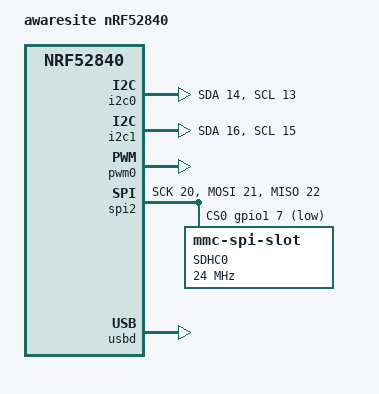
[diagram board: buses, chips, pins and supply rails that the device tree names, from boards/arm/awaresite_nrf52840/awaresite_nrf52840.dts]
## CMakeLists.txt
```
# SPDX-License-Identifier: Apache-2.0

cmake_minimum_required(VERSION 3.20.0)

list(APPEND BOARD_ROOT ${CMAKE_CURRENT_SOURCE_DIR})

# sets the board name to our custom board
set(BOARD awaresite_nrf52840)

find_package(Zephyr REQUIRED HINTS $ENV{ZEPHYR_BASE})
project(awaresite)

# adds our include directory to the app so that it can find the header files
target_include_directories(app PRIVATE include)

# adds the source files to our app
target_sources(app PRIVATE src/main.c)
```

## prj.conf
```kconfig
CONFIG_SERIAL=y

CONFIG_USE_SEGGER_RTT=y

CONFIG_LOG=y
CONFIG_LOG_BACKEND_SWO=y

CONFIG_SHELL=y
CONFIG_SHELL_BACKEND_RTT=y

CONFIG_FILE_SYSTEM=y
CONFIG_FAT_FILESYSTEM_ELM=y

CONFIG_SENSOR=y
CONFIG_TEMP_NRF5=y

CONFIG_CBPRINTF_LIBC_SUBSTS=y

CONFIG_BT=y
CONFIG_BT_OBSERVER=y
CONFIG_BT_SHELL=y
```

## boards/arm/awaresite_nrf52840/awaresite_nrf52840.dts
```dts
/*
 * awaresite board configuration
 */

/dts-v1/;
#include <nordic/nrf52840_qiaa.dtsi>

/ {
	model = "awaresite nRF52840";
	compatible = "rical,awaresite-nrf52840";

	chosen {
		zephyr,sram = &sram0;
		zephyr,flash = &flash0;
		zephyr,code-partition = &slot0_partition;
	};
};

&gpio0 {
	status = "okay";
};

&gpio1 {
	status = "okay";
};

&i2c0 {
	compatible = "nordic,nrf-twi";
	status = "okay";
	sda-pin = <14>;
	scl-pin = <13>;
};

&i2c1 {
	compatible = "nordic,nrf-twi";
	/* Cannot be used together with spi1. */
	/* status = "okay"; */
	sda-pin = <16>;
	scl-pin = <15>;
};

&pwm0 {
	status = "okay";
	ch0-pin = <6>;
	ch0-inverted;
	ch1-pin = <8>;
	ch1-inverted;
};

&spi0 {
	status = "disabled";
};

&spi1 {
	status = "disabled";
};

&spi2 {
	compatible = "nordic,nrf-spi";
	status = "okay";
	sck-pin = <20>;
	mosi-pin = <21>;
	miso-pin = <22>;
	cs-gpios = <&gpio1 7 GPIO_ACTIVE_LOW>;

	sdhc0: sdhc@0 {
		compatible = "zephyr,mmc-spi-slot";
                reg = <0>;
                status = "okay";
                label = "SDHC0";
                spi-max-frequency = <24000000>;
	};
};

&flash0 {

	partitions {
		compatible = "fixed-partitions";
		#address-cells = <1>;
		#size-cells = <1>;

		boot_partition: partition@0 {
			label = "mcuboot";
			reg = <0x000000000 0x0000C000>;
		};
		slot0_partition: partition@c000 {
			label = "image-0";
			reg = <0x0000C000 0x00067000>;
		};
		slot1_partition: partition@73000 {
			label = "image-1";
			reg = <0x00073000 0x00067000>;
		};
		scratch_partition: partition@da000 {
			label = "image-scratch";
			reg = <0x000da000 0x0001e000>;
		};

		/*
		 * The flash starting at 0x000f8000 and ending at
		 * 0x000fffff is reserved for use by the application.
		 */

		/*
		 * Storage partition will be used by FCB/LittleFS/NVS
		 * if enabled.
		 */
		storage_partition: partition@f8000 {
			label = "storage";
			reg = <0x000f8000 0x00008000>;
		};
	};
};

zephyr_udc0: &usbd {
	compatible = "nordic,nrf-usbd";
	status = "okay";
};
```

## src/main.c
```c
/*
 * Copyright (c) 2012-2014 Wind River Systems, Inc.
 *
 * SPDX-License-Identifier: Apache-2.0
 */

#include <zephyr/kernel.h>
#include <zephyr/device.h>
#include <ff.h>

#include <zephyr/bluetooth/bluetooth.h>
#include <zephyr/bluetooth/hci.h>
#include <zephyr/drivers/sensor.h>
#include <zephyr/fs/fs.h>
#include <zephyr/logging/log.h>
#include <zephyr/storage/disk_access.h>

#include <zephyr/sys/cbprintf.h>
#include <zephyr/sys/printk.h>
#include <zephyr/sys/ring_buffer.h>

LOG_MODULE_REGISTER(main);

static void bt_device_found(const bt_addr_le_t *addr, int8_t rssi, uint8_t type, struct net_buf_simple *ad);

// main uses this to buffer items
#define WRITE_BUFFER_SIZE (512 * 10) // write at once up to 10 sectors
static uint8_t write_buffer[WRITE_BUFFER_SIZE + 1]; // +1 for EOL

K_MUTEX_DEFINE(rbuf_mutex);
K_CONDVAR_DEFINE(rbuf_cv);
RING_BUF_ITEM_DECLARE_POW2(rbuf, (9 + 5)); // 512 = 2^9, 2^5=32 sectors

static FATFS fat_fs;
static struct fs_mount_t mp = {
  .type = FS_FATFS,
  .mnt_point = "/SD:",
  .fs_data = &fat_fs,
};

void main(void)
{
  int err;

  // Initialize Bluetooth
  if((err = bt_enable(NULL))) {
    LOG_ERR("No Bluetooth");
    return;
  }

  if((err = fs_mount(&mp))) {
    LOG_ERR("err: fs_mount: %d\n", err);
    return;
  }

  // file open
  struct fs_file_t file;
  fs_file_t_init(&file);
  if((err = fs_open(&file, "/SD:/log.csv", FS_O_WRITE | FS_O_CREATE))) {
    LOG_ERR("err: fs_open: %d\n", err);
    return;
  }

  if((err = bt_le_scan_start(BT_LE_SCAN_PARAM(BT_LE_SCAN_TYPE_PASSIVE,  \
                                              BT_HCI_LE_SCAN_FILTER_DUP_DISABLE, \
                                              BT_GAP_SCAN_FAST_INTERVAL, \
                                              BT_GAP_SCAN_FAST_WINDOW),
                             bt_device_found))) {
    LOG_ERR("err: bt_le_scan_start: %d\n", err);
    return;
  }

  while(1) {
    k_mutex_lock(&rbuf_mutex, K_FOREVER);

    uint32_t size;
    while((size = ring_buf_size_get(&rbuf)) < 512) {
      k_condvar_wait(&rbuf_cv, &rbuf_mutex, K_FOREVER);
    }

    size_t ret = ring_buf_get(&rbuf, write_buffer, MIN((size / 512) * 512, WRITE_BUFFER_SIZE));

    k_mutex_unlock(&rbuf_mutex);

    fs_write(&file, write_buffer, ret);
    fs_sync(&file);

    write_buffer[ret] = '\0';
    printk("%s", write_buffer);
  }
}

void bt_device_found(const bt_addr_le_t *addr, int8_t rssi, uint8_t type,
                     struct net_buf_simple *ad)
{
  static const uint8_t uuid[] = {0xb9, 0x40, 0x7f, 0x30, 0xf5, 0xf8, 0x46, 0x6e, 0xaf, 0xf9, 0x25, 0x55, 0x6b, 0x57, 0xfe, 0x6d,};
  static uint8_t msg_buffer[512];

  if((ad->len < 30) || memcmp(&ad->data[0x09], uuid, sizeof(uuid))) {
    return;
  }

  uint16_t major = (ad->data[0x19] << 8) | ad->data[0x1a];
  uint16_t minor = (ad->data[0x1b] << 8) | ad->data[0x1c];
  int8_t tx = ad->data[0x1d];

  if ((major >= 310) && (major <= 312)) {
    int len = snprintfcb(msg_buffer, sizeof(msg_buffer),
                         "RSSI,%lld,%04x,%04x,%d,%d\r\n",
                         k_uptime_get(),
                         major,
                         minor,
                         tx,
                         rssi);

    k_mutex_lock(&rbuf_mutex, K_FOREVER);
    ring_buf_put(&rbuf, msg_buffer, len);
    k_condvar_signal(&rbuf_cv);
    k_mutex_unlock(&rbuf_mutex);
  }
}
```
